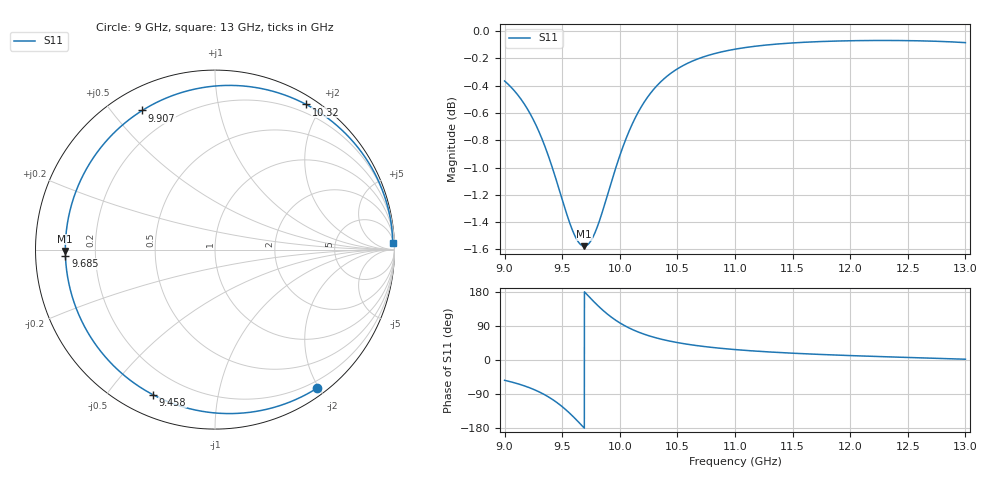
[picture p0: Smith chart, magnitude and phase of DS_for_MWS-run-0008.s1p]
! TOUCHSTONE file generated by CST DESIGN STUDIO
! Date and time: Wed Feb  5 13:34:29 2025
! Project name: C:\Work\MatlabApps\UnitCellOptimizationMatlab\CST\unitcell.cst
! Tree item: Tasks\Sweep1\SPara1\S-Parameters
! Header version: 2024
! Port assignment regex: !\s*Touchstone port\s*([0-9]+)\s*=\s*(CST MWS port|CST DES external port|CST DES block port)\s*(.+)\s* \(\"(.*)\"\)(\s*mode\s*([0-9]+))?.*
! Touchstone port assignment:
! Touchstone port 1 = CST DES external port 1 ("")
# GHz S MA R 50
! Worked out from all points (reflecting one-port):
!   4001 points, 9 GHz to 13 GHz, reference 50 ohm
!   lowest |S11| = -1.6 dB at 9.691 GHz (marker M1), VSWR 11.05, Z = 4.52 - j0.217 ohm
!   phase of S11 starts at -54 deg and turns -304 deg over the sweep
!   S11 on the Smith chart (normalised r, x): 9 GHz: 0.10, -1.98; 9.458 GHz: 0.09, -0.66; 9.685 GHz: 0.09, -0.02; 9.907 GHz: 0.09, +0.60; 10.32 GHz: 0.10, +1.80; 13 GHz: 14, +52
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9  0.9588 -53.6
9.12  0.9469 -63.2
9.236  0.9303 -75.6
9.36  0.9049 -93.8
9.458  0.8792 -113.2
9.5  0.8675 -123.1
9.551  0.854 -136.6
9.603  0.8426 -151.7
9.645  0.8365 -164.7
9.685  0.8341 -177.6
9.691  0.834 -179.5
9.736  0.8363 166.0
9.784  0.8435 151.1
9.846  0.8579 133.2
9.907  0.8748 117.6
9.952  0.8874 107.5
10  0.9002 98.0
10.07  0.9168 86.1
10.154  0.9329 74.6
10.234  0.9449 65.7
10.321  0.9549 57.9
10.5  0.9686 46.0
10.719  0.9782 36.0
11  0.9848 27.5
11.5  0.99 17.9
12  0.9919 11.7
12.5  0.992 6.7
13  0.9903 2.0
